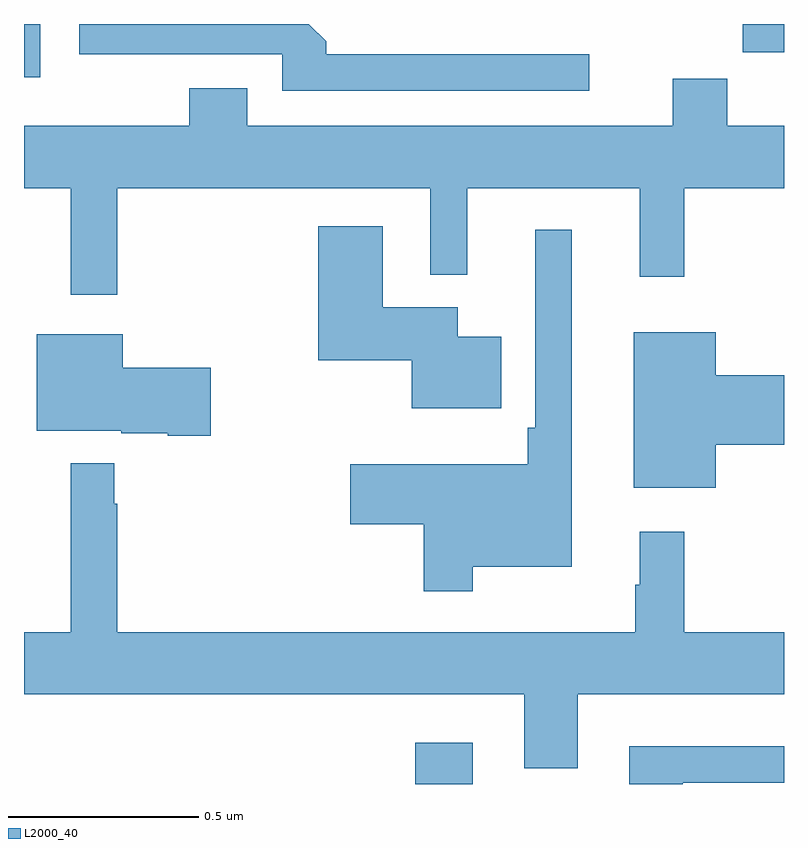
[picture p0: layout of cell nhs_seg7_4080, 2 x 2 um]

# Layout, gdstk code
import gdstk
lib = gdstk.Library(unit=1e-6, precision=1e-09)
def R(c, l, rs):  # rectangles x0, y0, x1, y1
    for r in rs: c.add(gdstk.rectangle(r[:2], r[2:], *l))
def P(c, l, *ps):  # polygons
    for p in ps: c.add(gdstk.Polygon(p, *l))
L2000_40 = (2000, 40)

nhs_seg7_4080 = lib.new_cell('nhs_seg7_4080')
R(nhs_seg7_4080, L2000_40, [(168.029,1047,168.181,1047.109), (167,1048.86,167.043,1049), (168.892,1048.926,169,1049)])
P(nhs_seg7_4080, L2000_40, [(168.487,1048.92),(167.795,1048.92),(167.795,1048.954),(167.749,1049),(167.145,1049),(167.145,1048.92),(167.679,1048.92),(167.679,1048.824),(168.487,1048.824)],
  [(167.245,1048.568),(168.069,1048.568),(168.069,1048.34),(168.167,1048.34),(168.167,1048.568),(168.62,1048.568),(168.62,1048.335),(168.737,1048.335),(168.737,1048.568),(169,1048.568),(169,1048.732),(168.851,1048.732),(168.851,1048.856),(168.707,1048.856),(168.707,1048.732),(167.587,1048.732),(167.587,1048.831),(167.435,1048.831),(167.435,1048.732),(167,1048.732),(167,1048.568),(167.123,1048.568),(167.123,1048.287),(167.245,1048.287)],
  [(168.256,1048.177),(168.142,1048.177),(168.142,1048.255),(167.944,1048.255),(167.944,1048.468),(167.774,1048.468),(167.774,1048.115),(168.02,1048.115),(168.02,1047.989),(168.256,1047.989)],
  [(168.181,1047.572),(168.442,1047.572),(168.442,1048.459),(168.345,1048.459),(168.345,1047.937),(168.325,1047.937),(168.325,1047.841),(167.859,1047.841),(167.859,1047.683),(168.052,1047.683),(168.052,1047.507),(168.181,1047.507)],
  [(168.82,1047.893),(169,1047.893),(169,1048.076),(168.82,1048.076),(168.82,1048.189),(168.605,1048.189),(168.605,1047.779),(168.82,1047.779)],
  [(167.491,1048.095),(167.26,1048.095),(167.26,1048.183),(167.033,1048.183),(167.033,1047.929),(167.256,1047.929),(167.256,1047.923),(167.378,1047.923),(167.378,1047.917),(167.491,1047.917)],
  [(168.457,1047.236),(169,1047.236),(169,1047.4),(168.737,1047.4),(168.737,1047.664),(168.62,1047.664),(168.62,1047.524),(168.609,1047.524),(168.609,1047.4),(167.245,1047.4),(167.245,1047.737),(167.237,1047.737),(167.237,1047.844),(167.123,1047.844),(167.123,1047.4),(167,1047.4),(167,1047.236),(168.317,1047.236),(168.317,1047.042),(168.457,1047.042)],
  [(168.733,1047.003),(169,1047.003),(169,1047.1),(168.593,1047.1),(168.593,1047),(168.733,1047)])

lib.write_gds('nhs_seg7_4080.gds')
